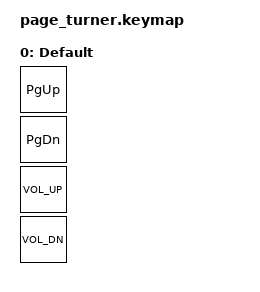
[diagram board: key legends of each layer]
/*
 * Copyright (c) 2026 The ZMK Contributors
 *
 * SPDX-License-Identifier: MIT
 */

#include <behaviors.dtsi>
#include <dt-bindings/zmk/keys.h>

/*
 * Default keymap. config/page_turner.keymap overrides this when building
 * with ZMK_CONFIG set to the config directory.
 */

/ {
    keymap {
        compatible = "zmk,keymap";

        default_layer {
            display-name = "Default";
            bindings = <
                &kp PG_UP
                &kp PG_DN
                &kp C_VOL_UP
                &kp C_VOL_DN
            >;
        };
    };
};
